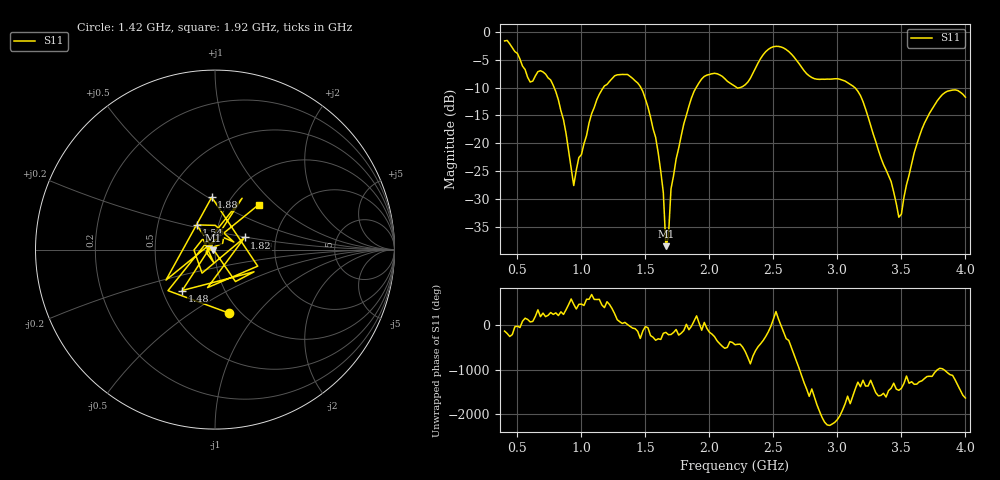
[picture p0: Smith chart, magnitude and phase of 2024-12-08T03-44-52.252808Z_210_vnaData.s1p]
!Created with skrf (http://scikit-rf.org).
# Hz S RI R 50.0
!freq ReS11 ImS11
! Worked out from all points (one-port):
!   181 points, 400 MHz to 4 GHz, reference 50 ohm
!   lowest |S11| = -38.4 dB at 1.66 GHz (marker M1), VSWR 1.02, Z = 48.9 - j0.38 ohm
!   |S11| at or under -10 dB: 787.1 MHz to 1.171 GHz (384.3 MHz wide, 39.2 % of centre); 1.464 GHz to 1.897 GHz (432.1 MHz wide, 25.7 % of centre); 3.136 GHz to end of sweep (the widest 3 of 4)
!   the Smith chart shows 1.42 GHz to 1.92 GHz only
!   S11 on the Smith chart (normalised r, x): 1.42 GHz: 0.89, -0.73; 1.48 GHz: 0.63, -0.31; 1.54 GHz: 0.79, +0.22; 1.82 GHz: 1.38, +0.19; 1.88 GHz: 0.82, +0.52; 1.92 GHz: 1.38, +0.79
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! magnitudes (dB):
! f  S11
! 400 MHz  -1.6
! 600 MHz  -9.0
! 760 MHz  -8.6
! 860 MHz  -15.8
! 940 MHz  -27.6
! 1.12 GHz  -12.2
! 1.3 GHz  -7.7
! 1.42 GHz  -8.8
! 1.48 GHz  -10.7
! 1.54 GHz  -15.3
! 1.64 GHz  -28.8
! 1.66 GHz  -38.4
! 1.68 GHz  -36.7
! 1.7 GHz  -28.2
! 1.76 GHz  -20.9
! 1.82 GHz  -15.0
! 1.88 GHz  -10.7
! 1.92 GHz  -9.1
! 2.2 GHz  -9.8
! 2.48 GHz  -2.8
! 2.66 GHz  -4.5
! 3.1 GHz  -9.4
! 3.2 GHz  -12.5
! 3.48 GHz  -33.2
! 3.56 GHz  -25.7
! 3.66 GHz  -17.5
! 3.78 GHz  -12.4
! 4 GHz  -11.7
